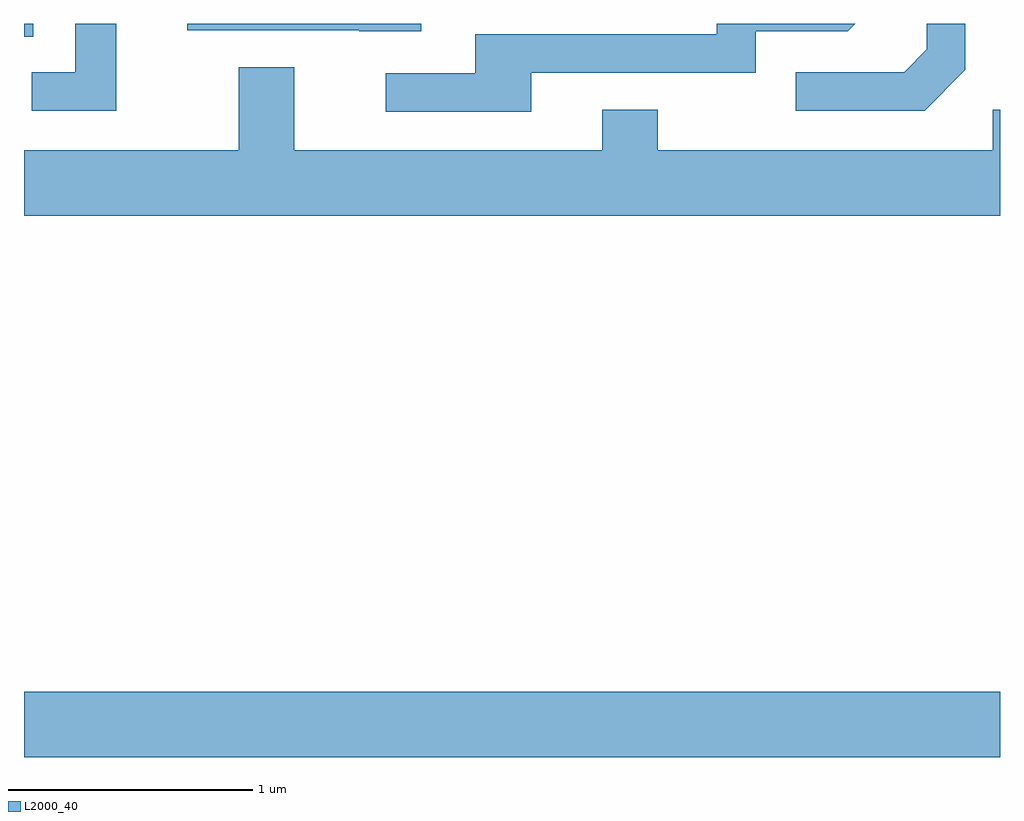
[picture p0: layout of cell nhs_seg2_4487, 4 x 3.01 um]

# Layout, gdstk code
import gdstk
lib = gdstk.Library(unit=1e-6, precision=1e-09)
def R(c, l, rs):  # rectangles x0, y0, x1, y1
    for r in rs: c.add(gdstk.rectangle(r[:2], r[2:], *l))
def P(c, l, *ps):  # polygons
    for p in ps: c.add(gdstk.Polygon(p, *l))
L2000_40 = (2000, 40)

nhs_seg2_4487 = lib.new_cell('nhs_seg2_4487')
R(nhs_seg2_4487, L2000_40, [(317.611,1012.796,321.611,1013.064), (317.611,1015.748,317.649,1015.802)])
P(nhs_seg2_4487, L2000_40, [(319.689,1015.601),(320.609,1015.601),(320.609,1015.771),(320.987,1015.771),(321.018,1015.802),(320.451,1015.802),(320.451,1015.759),(319.461,1015.759),(319.461,1015.599),(319.093,1015.599),(319.093,1015.441),(319.689,1015.441)],
  [(317.989,1015.802),(317.821,1015.802),(317.821,1015.604),(317.643,1015.604),(317.643,1015.446),(317.989,1015.446)],
  [(319.239,1015.802),(318.281,1015.802),(318.281,1015.776),(318.985,1015.776),(318.985,1015.771),(319.239,1015.771)],
  [(321.469,1015.614),(321.469,1015.802),(321.311,1015.802),(321.311,1015.697),(321.219,1015.604),(320.773,1015.604),(320.773,1015.446),(321.302,1015.446)],
  [(321.611,1015.449),(321.581,1015.449),(321.581,1015.284),(320.209,1015.284),(320.209,1015.449),(319.981,1015.449),(319.981,1015.284),(318.719,1015.284),(318.719,1015.624),(318.491,1015.624),(318.491,1015.284),(317.611,1015.284),(317.611,1015.016),(321.611,1015.016)])

lib.write_gds('nhs_seg2_4487.gds')
